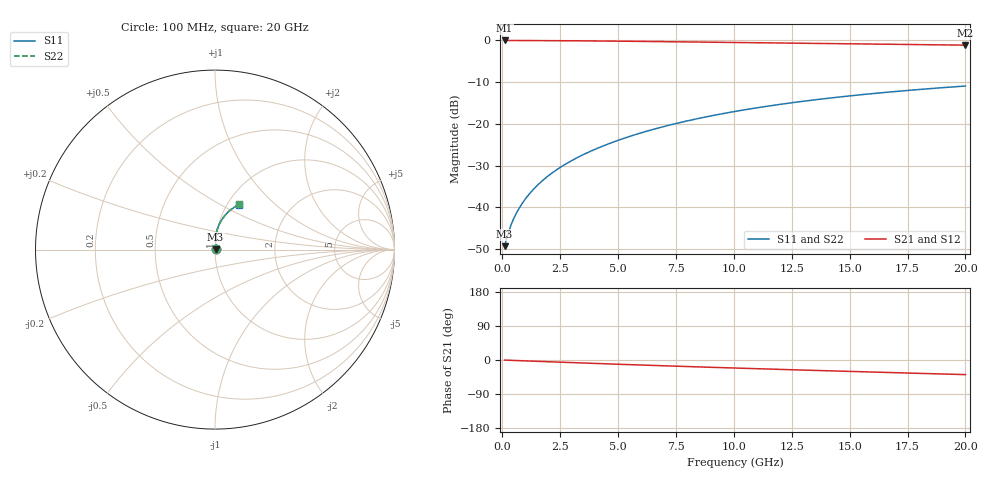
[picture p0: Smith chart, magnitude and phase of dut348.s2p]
! Touchstone file exported from HFSS 2024.1.0
!  File:  C:/UserFiles/LocalFiles/RDL_TSV_Batchsim/temp_RDL_top_348_1779608076.aedt
!  Generated:  03:36:32 PM May 24, 2026
!  Design:  RDL_top
!  Project:  temp_RDL_top_348_1779608076
!  Setup:  Setup1
!  Solution:  Sweep
! Variables:
!  dtsv = 10.80580581um
!  hbump = 3um
!  htsv = 72.94um
!  ldown = 100um
!  lrdl = 602.49um
!  p = 40
!  p1 = 41.35um
!  rhole = 1um
!  t = 450um
!  tdown = 3.915915916um
!  trdl = 3.09um
!  wdown = 15.38538539um
!  wrdl = 24.1um
# GHz S MA R 50.000000
! Terminal data exported
! Port[1] = Box2_T1
! Port[2] = Box2_T2
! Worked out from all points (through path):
!   200 points, 100 MHz to 20 GHz, reference 50 ohm
!   highest |S21| = -0.03 dB at 100 MHz (marker M1); lowest = -1.1 dB at 20 GHz (marker M2)
!   group delay of S21, straight-line fit = 5.3 ps
!   lowest |S11| = -49.3 dB at 100 MHz (marker M3), VSWR 1.01, Z = 50.3 + j0.147 ohm
!   |S11| at or under -10 dB: start of sweep to end of sweep
!   |S22| runs from -49.3 to -10.9 dB; largest |S21 - S12| = 4.2e-15
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0.1  0.003438 25.1  0.9969 -0.2  0.9969 -0.2  0.003437 25.1
! Gamma 0 0 0 0
! Port Impedance 50 0 50 0
0.3  0.005369 49.4  0.9964 -0.7  0.9964 -0.7  0.005369 49.4
0.4  0.006405 55.1  0.9962 -1.0  0.9962 -1.0  0.006405 55.2
0.5  0.007432 59.4  0.9959 -1.2  0.9959 -1.2  0.007431 59.4
0.6  0.008458 62.7  0.9957 -1.4  0.9957 -1.4  0.008458 62.8
0.8  0.01054 67.9  0.9954 -1.9  0.9954 -1.9  0.01054 67.9
1  0.01267 71.6  0.995 -2.3  0.995 -2.3  0.01267 71.7
1.2  0.01486 74.5  0.9946 -2.8  0.9946 -2.8  0.01486 74.5
1.7  0.02054 79.2  0.9933 -3.9  0.9933 -3.9  0.02054 79.2
2.2  0.02646 82.0  0.9917 -5.1  0.9917 -5.1  0.02647 82.1
2.8  0.03385 84.1  0.9894 -6.4  0.9894 -6.4  0.03387 84.2
3.5  0.04287 85.5  0.9861 -8.0  0.9861 -8.0  0.0429 85.6
4.2  0.05229 86.3  0.9824 -9.5  0.9824 -9.5  0.05234 86.4
5  0.06352 86.5  0.9777 -11.2  0.9777 -11.2  0.0636 86.6
5.9  0.07667 86.1  0.9719 -13.1  0.9719 -13.1  0.07678 86.2
6.8  0.09024 85.4  0.9658 -14.9  0.9658 -14.9  0.0904 85.5
8.4  0.115 83.3  0.9546 -18.1  0.9546 -18.1  0.1153 83.4
10.1  0.1418 80.5  0.9426 -21.3  0.9426 -21.3  0.1421 80.6
11.7  0.1667 77.6  0.9314 -24.3  0.9314 -24.3  0.1671 77.7
13.4  0.1927 74.4  0.9197 -27.3  0.9197 -27.3  0.1932 74.5
16.7  0.2404 68.1  0.8976 -33.1  0.8976 -33.1  0.2411 68.2
20  0.2839 62.0  0.8761 -38.6  0.8761 -38.6  0.2847 62.1
